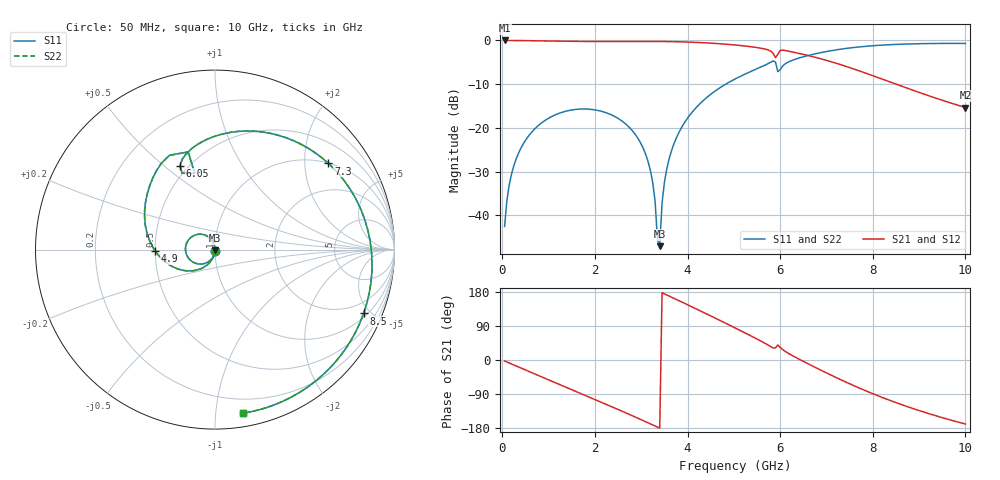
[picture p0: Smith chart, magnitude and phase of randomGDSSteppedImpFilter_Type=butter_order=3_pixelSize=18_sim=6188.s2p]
! freq	dB(S11)	phase(S11)	dB(S12)	phase(S12)
!  dB(S21)	phase(S21)	dB(S22)	phase(S22)
!S-par simulation data
#  GHz  S  DB  R 50
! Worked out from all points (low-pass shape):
!   200 points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, 50 MHz to 10 GHz, reference 50 ohm
!   highest |S21| = 0.00 dB at 50 MHz (marker M1); lowest = -15.3 dB at 10 GHz (marker M2)
!   |S21| within 3 dB of the highest: start of sweep to 5.852 GHz; 5.96 GHz to 6.424 GHz (463.7 MHz wide, 7.49 % of centre)
!   lowest |S11| = -47.1 dB at 3.4 GHz (marker M3), VSWR 1.01, Z = 49.8 - j0.412 ohm
!   |S11| at or under -10 dB: start of sweep to 4.824 GHz
!   |S22| runs from -47.3 to -0.7 dB; largest |S21 - S12| = 0
!   S11 on the Smith chart (normalised r, x): 50 MHz: 1.00, -0.01; 4.9 GHz: 0.50, -0.01; 6.05 GHz: 0.45, +0.57; 7.3 GHz: 1.01, +2.63; 8.5 GHz: 1.20, -4.55; 10 GHz: 0.09, -1.18
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0.05  -42.54 -92.1  -0.00 -2.6  -0.00 -2.6  -42.54 -92.2
0.2  -30.55 -100.5  -0.01 -10.6  -0.01 -10.6  -30.55 -100.5
0.5  -22.85 -116.6  -0.04 -26.3  -0.04 -26.3  -22.85 -116.6
1.75  -15.67 178.0  -0.23 -91.1  -0.23 -91.1  -15.67 178.0
2.35  -16.99 146.7  -0.23 -122.5  -0.23 -122.5  -16.98 146.7
3  -23.72 112.2  -0.21 -157.5  -0.21 -157.5  -23.72 112.0
3.25  -32.59 100.0  -0.22 -171.4  -0.22 -171.4  -32.59 99.1
3.35  -45.50 105.2  -0.23 -177.0  -0.23 -177.0  -45.62 99.9
3.4  -47.05 -111.5  -0.23 -179.8  -0.23 -179.8  -47.31 -103.8
3.45  -37.13 -98.1  -0.24 177.4  -0.24 177.4  -37.15 -96.2
3.5  -32.51 -99.1  -0.24 174.5  -0.24 174.5  -32.52 -98.0
3.75  -22.50 -111.6  -0.29 160.3  -0.29 160.3  -22.50 -111.2
4.35  -13.64 -146.1  -0.52 125.3  -0.52 125.3  -13.64 -145.9
4.9  -9.54 -178.9  -0.92 92.4  -0.92 92.4  -9.54 -178.7
5.05  -8.68 172.1  -1.06 83.3  -1.06 83.3  -8.68 172.2
5.85  -4.68 115.8  -2.96 31.6  -2.96 31.6  -4.68 116.0
6.05  -5.90 112.5  -2.21 27.8  -2.21 27.8  -5.90 112.7
6.7  -3.19 72.4  -3.69 -16.0  -3.69 -16.0  -3.19 72.6
7.3  -2.01 37.2  -5.51 -51.5  -5.51 -51.5  -2.01 37.3
8.35  -0.98 -16.5  -9.40 -105.7  -9.40 -105.7  -0.98 -16.4
8.5  -0.90 -23.3  -9.98 -112.4  -9.98 -112.4  -0.90 -23.2
10  -0.68 -80.4  -15.34 -168.9  -15.34 -168.9  -0.68 -80.3
